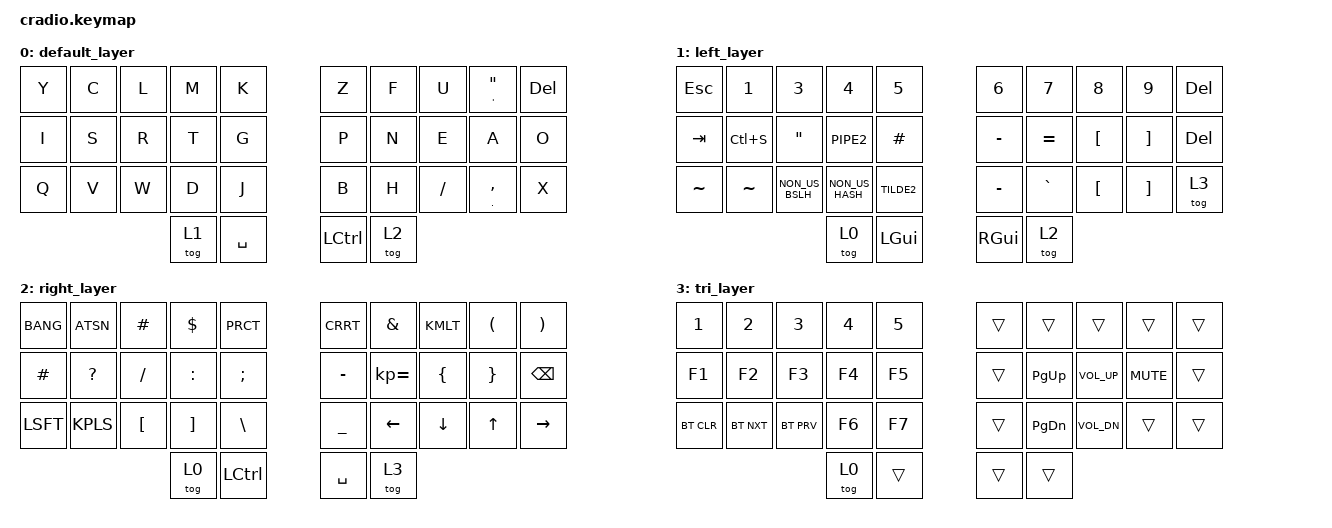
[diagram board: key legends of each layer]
/*
 * Copyright (c) 2020 The ZMK Contributors
 *
 * SPDX-License-Identifier: MIT
 */

#include <behaviors.dtsi>
#include <dt-bindings/zmk/keys.h>
#include <dt-bindings/zmk/bt.h>


&mt {
  //  flavor = "tap-preferred";
   // tapping_term_ms = <200>;
};

/ { 

    combos {
        compatible = "zmk,combos";
        combo_esc {
            timeout-ms = <50>;
            key-positions = <0 1>;
            bindings = <&kp ESC>;
        };
        
         combo_tab {
            timeout-ms = <50>;
            key-positions = <10 11>;
            bindings = <&kp TAB>;
        };
        
            combo_ralt {
            timeout-ms = <50>;
            key-positions = <17 16>;
            bindings = <&kp RALT>;
        };
        
                    combo_lalt {
            timeout-ms = <50>;
            key-positions = <11 12>;
            bindings = <&kp LALT>;
        };
        
                           combo_lgui {
            timeout-ms = <50>;
            key-positions = <12 13>;
            bindings = <&kp LGUI>;
        };
        
        
           combo_rgui {
            timeout-ms = <50>;
            key-positions = <17 18>;
            bindings = <&kp RGUI>;
        };
        

        
    };

        keymap {
                compatible = "zmk,keymap";
                
       		default_layer {
		bindings = <
		&kp Y &kp C &kp L &kp M &kp K 						&kp Z &kp F &kp U &mt QUOT DQT &kp DEL 
		&kp I &kp S &kp R &kp T &kp G 			        	        &kp P &kp N &kp E &kp A &kp O
		&kp Q &kp V &kp W &kp D &kp J				                &kp B &kp H  &kp / &mt DOT CMMA &kp X
          				&tog 1 &kp SPC  				&kp LCTL &tog 2 
		>;
		};

       		left_layer {
		bindings = <
		&kp ESC  &kp NUM_1    &kp NUM_3    &kp NUM_4    &kp NUM_5		&kp NUM_6 &kp NUM_7 &kp NUM_8 &kp NUM_9 &kp DEL 
		&kp TAB    &kp LC(S)    &kp DQT      &kp PIPE2     &kp HASH 		&kp MINUS &kp EQL  &kp LBKT &kp RBKT  &kp DEL 
		&kp TILDE    &kp TILDE 	&kp NON_US_BSLH &kp NON_US_HASH  &kp TILDE2 	&kp MINUS &kp GRAVE &kp LBKT &kp RBKT  &tog 3 
					    &tog 0  &kp LGUI  					&kp RGUI &tog 2 
		>;
		};
		
		right_layer {
		bindings = <
		&kp BANG  &kp ATSN &kp HASH  &kp DLLR  &kp PRCT    			&kp CRRT  &kp AMPS &kp KMLT &kp LPRN &kp RPRN 
		&kp HASH  &kp QMARK  &kp FSLH  &kp COLN  &kp SCLN 			&kp MINUS &kp KP_EQUAL  &kp LBRC  &kp RBRC   &kp BKSP
		&kp LSFT  &kp KPLS &kp LBKT &kp RBKT   &kp BSLH    			&kp UNDER &kp LEFT &kp DOWN &kp UP  &kp RIGHT
					  &tog 0 &kp LCTL  				&kp SPC  &tog 3 
		>;
		};	
		
		tri_layer {
		bindings = <
		&kp NUM_1  &kp NUM_2    &kp NUM_3    &kp NUM_4    &kp NUM_5 			&trans &trans   &trans   &trans  &trans
		&kp F1 &kp F2 &kp F3 &kp F4 &kp F5  						&trans &kp PG_UP  &kp K_VOL_UP &kp K_MUTE &trans 
		&bt BT_CLR  &bt BT_NXT &bt BT_PRV &kp F6 &kp F7   				&trans &kp PG_DN  &kp K_VOL_DN  &trans &trans   
					 &tog 0 &trans  					&trans &trans 
		>;
		};	
        
	};
};
